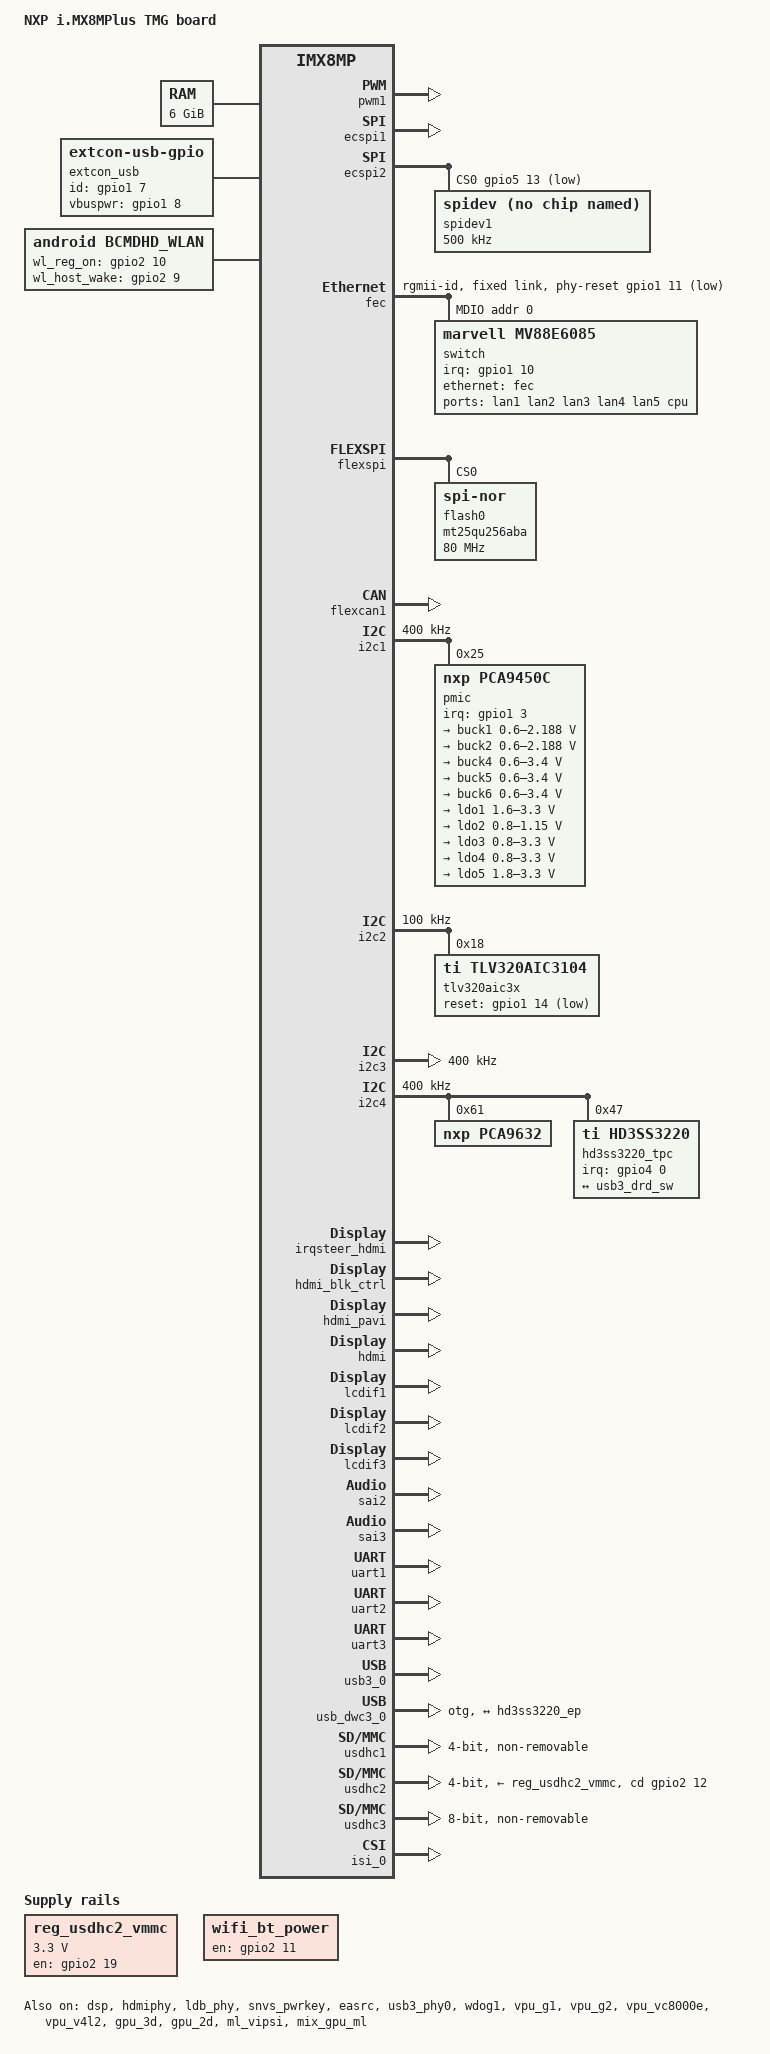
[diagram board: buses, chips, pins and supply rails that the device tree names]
// SPDX-License-Identifier: (GPL-2.0+ OR MIT)
/*
 * Copyright 2019 NXP
 */

/dts-v1/;

#include <dt-bindings/usb/pd.h>
#include "imx8mp.dtsi"

/ {
	model = "NXP i.MX8MPlus TMG board";
	compatible = "fsl,imx8mp-tmg", "fsl,imx8mp";

	chosen {
		stdout-path = &uart2;
	};

	memory@40000000 {
		device_type = "memory";
		reg = <0x0 0x40000000 0 0xc0000000>,
		      <0x1 0x00000000 0 0xc0000000>;
	};

	reg_usdhc2_vmmc: regulator-usdhc2 {
		compatible = "regulator-fixed";
		pinctrl-names = "default";
		pinctrl-0 = <&pinctrl_reg_usdhc2_vmmc>;
		regulator-name = "VSD_3V3";
		regulator-min-microvolt = <3300000>;
		regulator-max-microvolt = <3300000>;
		gpio = <&gpio2 19 GPIO_ACTIVE_HIGH>;
		enable-active-high;
	};

	wifi_bt_power: wifi-bt-regulator {
                compatible = "regulator-fixed";
                enable-active-high;
                gpio = <&gpio2 11 GPIO_ACTIVE_HIGH>;
                pinctrl-names = "default";
                pinctrl-0 = <&wifi_bt_drv>;
                regulator-name = "wifi_bt_power";
                regulator-always-on;
                regulator-boot-on;
        };
/*
        reg_usb_5v_vbus: regulator-usb5v-vbus {
                compatible = "regulator-fixed";
                regulator-name = "usb_5v_vbus";
                regulator-min-microvolt = <5000000>;
                regulator-max-microvolt = <5000000>;
                pinctrl-names = "default";
                pinctrl-0 = <&pinctrl_reg_usb_5v_vbus>;
                gpio = <&gpio1 8 GPIO_ACTIVE_HIGH>;
                enable-active-high;
        };
*/
	// FIXME: Use extcon device provided by charger driver when available
	extcon_usb: extcon_iddig {
		compatible = "linux,extcon-usb-gpio";
                pinctrl-names = "default";
                pinctrl-0 = <&pinctrl_reg_usb_5v_vbus>;
//                vbus-gpio = <&gpio1 8 GPIO_ACTIVE_HIGH>;
		id-gpio = <&gpio1 7 GPIO_ACTIVE_HIGH>;
                vbuspwr-gpio = <&gpio1 8 GPIO_ACTIVE_HIGH>;
	};

	bcmdhd {
        	compatible = "android,bcmdhd_wlan";
		pinctrl-names = "default";
		pinctrl-0 = <&pinctrl_usdhc1_gpio>;
	        gpio_wl_reg_on = <&gpio2 10 GPIO_ACTIVE_HIGH>;
	        gpio_wl_host_wake = <&gpio2 9 GPIO_ACTIVE_HIGH>;
	};

	sound_tlv320aic3104: sound-tlv320aic3104 {
		compatible = "simple-audio-card";
		simple-audio-card,name = "tlv320aic3104-audio";
		simple-audio-card,format = "i2s";
		simple-audio-card,frame-master = <&codecdai>;
		simple-audio-card,bitclock-master = <&codecdai>;
		simple-audio-card,widgets =
			"Line", "Line Out",
			"Line", "Line IN";
		simple-audio-card,routing =
			"Line Out", "LLOUT",
			"Line Out", "RLOUT",
			"LINE1L", "Line IN",
			"LINE1R", "Line IN";

		cpudai: simple-audio-card,cpu {
			sound-dai = <&sai3>;
	/*		dai-tdm-slot-num = <2>;
			dai-tdm-slot-width = <32>;*/
		};

		codecdai: simple-audio-card,codec {
			sound-dai = <&tlv320aic3x>;
			clocks = <&audio_blk_ctrl IMX8MP_CLK_AUDIO_BLK_CTRL_SAI3_MCLK1>;
		};
	};
};

&A53_0 {
	cpu-supply = <&buck2>;
};

&A53_1 {
	cpu-supply = <&buck2>;
};

&A53_2 {
	cpu-supply = <&buck2>;
};

&A53_3 {
	cpu-supply = <&buck2>;
};

&dsp {
	status = "okay";
};

&pwm1 {
	pinctrl-names = "default";
	pinctrl-0 = <&pinctrl_pwm1>;
	status = "okay";
};

&pwm2 {
	pinctrl-names = "default";
	pinctrl-0 = <&pinctrl_pwm2>;
	status = "disabled";
};

&pwm4 {
	pinctrl-names = "default";
	pinctrl-0 = <&pinctrl_pwm4>;
	status = "disabled";
};

&ecspi1 {
	#address-cells = <1>;
	#size-cells = <0>;
	pinctrl-names = "default";
	pinctrl-0 = <&pinctrl_ecspi1 &pinctrl_ecspi1_cs>;
	cs-gpios = <&gpio5 9 GPIO_ACTIVE_LOW>; 
	status = "okay";
};

&ecspi2 {
	#address-cells = <1>;
	#size-cells = <0>;
	fsl,spi-num-chipselects = <1>;
	pinctrl-names = "default";
	pinctrl-0 = <&pinctrl_ecspi2 &pinctrl_ecspi2_cs>;
	cs-gpios = <&gpio5 13 GPIO_ACTIVE_LOW>;
	status = "okay";

	spidev1: spi@0 {
		reg = <0>;
		compatible = "rohm,dh2228fv";
		spi-max-frequency = <500000>;
	};
};

&fec {
	pinctrl-0 = <&pinctrl_fec>,<&pinctrl_switch_reset>;
	phy-reset-gpios = <&gpio1 11 GPIO_ACTIVE_LOW>;
	phy-reset-duration = <10>;
	phy-reset-post-delay = <50>;
	pinctrl-names = "default";
	phy-mode = "rgmii-id";
	fsl,magic-packet;
	status = "okay";

	fixed-link {
		speed = <100>;
		/*full-duplex;*/
	};

	mdio {
		#address-cells = <1>;
		#size-cells = <0>;

		switch: switch@0 {
			compatible = "marvell,mv88e6085";
			pinctrl-0 = <&pinctrl_switch_intr>;
			pinctrl-names = "default";
			reg = <0>;
			eeprom-length = <512>;
			interrupt-parent = <&gpio1>;
			interrupts = <10 IRQ_TYPE_LEVEL_LOW>;
			interrupt-controller;
			#interrupt-cells = <2>;

			ports {
				#address-cells = <1>;
				#size-cells = <0>;

				port@0 {
					reg = <0>;
					label = "lan1";
				};

				port@1 {
					reg = <1>;
					label = "lan2";
				};

				port@2 {
					reg = <2>;
					label = "lan3";
				};

				port@3 {
					reg = <3>;
					label = "lan4";
				};

				port@4 {
					reg = <4>;
					label = "lan5";
				};

				port@5 {
					reg = <5>;
					label = "cpu";
					ethernet = <&fec>;
					fixed-link {
						speed = <100>;
						/*full-duplex;*/
					};
				};
			};
		};
	};
};

&flexspi {
	pinctrl-names = "default";
	pinctrl-0 = <&pinctrl_flexspi0>;
	status = "okay";

	flash0: mt25qu256aba@0 {
		reg = <0>;
		#address-cells = <1>;
		#size-cells = <1>;
		compatible = "jedec,spi-nor";
		spi-max-frequency = <80000000>;
		spi-tx-bus-width = <4>;
		spi-rx-bus-width = <4>;
	};
};

&flexcan1 {
	pinctrl-names = "default";
	pinctrl-0 = <&pinctrl_flexcan1>;
/*	xceiver-supply = <&reg_can1_stby>; */
	status = "okay";
};

&i2c1 {
	clock-frequency = <400000>;
	pinctrl-names = "default";
	pinctrl-0 = <&pinctrl_i2c1>;
	status = "okay";

	pmic: pca9450@25 {
		reg = <0x25>;
		compatible = "nxp,pca9450c";
		/* PMIC PCA9450 PMIC_nINT GPIO1_IO3 */
		pinctrl-0 = <&pinctrl_pmic>;
		interrupt-parent = <&gpio1>;
		interrupts = <3 GPIO_ACTIVE_LOW>;

		regulators {
			buck1: BUCK1 {
				regulator-name = "BUCK1";
				regulator-min-microvolt = <600000>;
				regulator-max-microvolt = <2187500>;
				regulator-boot-on;
				regulator-always-on;
				regulator-ramp-delay = <3125>;
			};

			buck2: BUCK2 {
				regulator-name = "BUCK2";
				regulator-min-microvolt = <600000>;
				regulator-max-microvolt = <2187500>;
				regulator-boot-on;
				regulator-always-on;
				regulator-ramp-delay = <3125>;
				nxp,dvs-run-voltage = <950000>;
				nxp,dvs-standby-voltage = <850000>;
			};

			buck4: BUCK4{
				regulator-name = "BUCK4";
				regulator-min-microvolt = <600000>;
				regulator-max-microvolt = <3400000>;
				regulator-boot-on;
				regulator-always-on;
			};

			buck5: BUCK5{
				regulator-name = "BUCK5";
				regulator-min-microvolt = <600000>;
				regulator-max-microvolt = <3400000>;
				regulator-boot-on;
				regulator-always-on;
			};

			buck6: BUCK6 {
				regulator-name = "BUCK6";
				regulator-min-microvolt = <600000>;
				regulator-max-microvolt = <3400000>;
				regulator-boot-on;
				regulator-always-on;
			};

			ldo1: LDO1 {
				regulator-name = "LDO1";
				regulator-min-microvolt = <1600000>;
				regulator-max-microvolt = <3300000>;
				regulator-boot-on;
				regulator-always-on;
			};

			ldo2: LDO2 {
				regulator-name = "LDO2";
				regulator-min-microvolt = <800000>;
				regulator-max-microvolt = <1150000>;
				regulator-boot-on;
				regulator-always-on;
			};

			ldo3: LDO3 {
				regulator-name = "LDO3";
				regulator-min-microvolt = <800000>;
				regulator-max-microvolt = <3300000>;
				regulator-boot-on;
				regulator-always-on;
			};

			ldo4: LDO4 {
				regulator-name = "LDO4";
				regulator-min-microvolt = <800000>;
				regulator-max-microvolt = <3300000>;
				regulator-boot-on;
				regulator-always-on;
			};

			ldo5: LDO5 {
				regulator-name = "LDO5";
				regulator-min-microvolt = <1800000>;
				regulator-max-microvolt = <3300000>;
				regulator-boot-on;
				regulator-always-on;
			};
		};
	};
};

&i2c2 {
	clock-frequency = <100000>;
	pinctrl-names = "default";
	pinctrl-0 = <&pinctrl_i2c2>;
	status = "okay";

	tlv320aic3x: tlv320aic3x@18 {
		#sound-dai-cells = <0>;
		compatible = "ti,tlv320aic3104";
		pinctrl-0 = <&pinctrl_audio_reset>;
		reg = <0x18>;
		status = "okay";
		ai3x-micbias-vg = <0x3>;
		gpio-reset = <&gpio1 14 GPIO_ACTIVE_LOW>;
	};
};

&i2c3 {
	clock-frequency = <400000>;
	pinctrl-names = "default";
	pinctrl-0 = <&pinctrl_i2c3>;
	status = "okay";

};

&i2c4 {
	clock-frequency = <400000>;
	pinctrl-names = "default";
	pinctrl-0 = <&pinctrl_i2c4>;
	status = "okay";

	pca9632: pca9632@61 {
        	compatible = "nxp,pca9632";
	        #address-cells = <1>;
	        #size-cells = <0>;
	        reg = <0x61>;

	        red@0 {
        	        label = "red";
	                reg = <0>;
	                linux,default-trigger = "none";
	        };
	        green@1 {
        	        label = "green";
	                reg = <1>;
        	        linux,default-trigger = "none";
	        };
	        blue@2 {
        	        label = "blue";
	                reg = <2>;
        	        linux,default-trigger = "none";
	        };
	        unused@3 {
        	        label = "unused";
	                reg = <3>;
        	        linux,default-trigger = "none";
	        };
	};

	hd3ss3220_tpc:hd3ss3220@47 {
		pinctrl-names = "default";
		pinctrl-0 = <&pinctrl_usb_nint>;
                compatible = "ti,hd3ss3220";
                reg = <0x47>;
                interrupt-parent = <&gpio4>;
		interrupts = <0 GPIO_ACTIVE_HIGH>;

		connector {
			compatible = "usb-c-connector";
			label = "USB-C";
			data-role = "dual";

			ports {
				#address-cells = <1>;
				#size-cells = <0>;

				port@1 {
					reg = <1>;
					hd3ss3220_ep: endpoint {
						remote-endpoint = <&usb3_drd_sw>;
					};
				};
			};
		};
        };
};

&irqsteer_hdmi {
	status = "okay";
};

&hdmi_blk_ctrl {
	status = "okay";
};

&hdmi_pavi {
	status = "okay";
};

&hdmi {
	status = "okay";
};

&hdmiphy {
	status = "okay";
};

&lcdif1 {
	status = "okay";
};

&lcdif2 {
	status = "okay";
};

&lcdif3 {
	status = "okay";

	thres-low  = <1 2>;             /* (FIFO * 1 / 2) */
	thres-high = <3 4>;             /* (FIFO * 3 / 4) */
};

&ldb {
	status = "disabled";
};

&ldb_phy {
	status = "okay";
};

&snvs_pwrkey {
	status = "okay";
};

&easrc {
	fsl,asrc-rate  = <48000>;
	status = "okay";
};

&pcie{
	pinctrl-names = "default";
	pinctrl-0 = <&pinctrl_pcie>;
	disable-gpio = <&gpio2 6 GPIO_ACTIVE_LOW>;
	reset-gpio = <&gpio2 7 GPIO_ACTIVE_LOW>;
	ext_osc = <1>;
	clocks = <&clk IMX8MP_CLK_HSIO_ROOT>,
		 <&clk IMX8MP_CLK_PCIE_AUX>,
		 <&clk IMX8MP_CLK_HSIO_AXI>,
		 <&clk IMX8MP_CLK_PCIE_ROOT>;
	clock-names = "pcie", "pcie_aux", "pcie_phy", "pcie_bus";
	assigned-clocks = <&clk IMX8MP_CLK_HSIO_AXI>,
			  <&clk IMX8MP_CLK_PCIE_AUX>;
	assigned-clock-rates = <500000000>, <10000000>;
	assigned-clock-parents = <&clk IMX8MP_SYS_PLL2_500M>,
				 <&clk IMX8MP_SYS_PLL2_50M>;
	l1ss-disabled;
	status = "disabled";
};

&pcie_ep{
	pinctrl-names = "default";
	pinctrl-0 = <&pinctrl_pcie>;
	ext_osc = <1>;
	clocks = <&clk IMX8MP_CLK_HSIO_ROOT>,
		 <&clk IMX8MP_CLK_PCIE_AUX>,
		 <&clk IMX8MP_CLK_HSIO_AXI>,
		 <&clk IMX8MP_CLK_PCIE_ROOT>;
	clock-names = "pcie", "pcie_aux", "pcie_phy", "pcie_bus";
	assigned-clocks = <&clk IMX8MP_CLK_HSIO_AXI>,
			  <&clk IMX8MP_CLK_PCIE_AUX>;
	assigned-clock-rates = <500000000>, <10000000>;
	assigned-clock-parents = <&clk IMX8MP_SYS_PLL2_500M>,
				 <&clk IMX8MP_SYS_PLL2_50M>;
	status = "disabled";
};

&pcie_phy{
	ext_osc = <1>;
	status = "disabled";
};


&sai2 {
/*	#sound-dai-cells = <0>; */
	pinctrl-names = "default";
	pinctrl-0 = <&pinctrl_sai2>;
	assigned-clocks = <&clk IMX8MP_CLK_SAI2>;
	assigned-clock-parents = <&clk IMX8MP_AUDIO_PLL1_OUT>;
	assigned-clock-rates = <12288000>;
	status = "okay";
};

&sai3 {
	#sound-dai-cells = <0>;
	pinctrl-names = "default";
	pinctrl-0 = <&pinctrl_sai3>;
	assigned-clocks = <&clk IMX8MP_CLK_SAI3>;
	assigned-clock-parents = <&clk IMX8MP_AUDIO_PLL1_OUT>;
	assigned-clock-rates = <24576000>;
	clocks = <&audio_blk_ctrl IMX8MP_CLK_AUDIO_BLK_CTRL_SAI3_IPG>, <&clk IMX8MP_CLK_DUMMY>,
		 <&audio_blk_ctrl IMX8MP_CLK_AUDIO_BLK_CTRL_SAI3_MCLK1>, <&clk IMX8MP_CLK_DUMMY>,
		 <&clk IMX8MP_CLK_DUMMY>;
	clock-names = "bus", "mclk0", "mclk1", "mclk2", "mclk3";
	fsl,sai-mclk-direction-output;
	status = "okay";
};

&sdma2 {
	status = "okay";
};

&uart1 { /* BT */
	pinctrl-names = "default";
	pinctrl-0 = <&pinctrl_uart1>;
	assigned-clocks = <&clk IMX8MP_CLK_UART1>;
	assigned-clock-parents = <&clk IMX8MP_SYS_PLL1_80M>;
	fsl,uart-has-rtscts;
	status = "okay";
};

&uart2 {
	/* console */
	pinctrl-names = "default";
	pinctrl-0 = <&pinctrl_uart2>;
	status = "okay";
};

&uart3 {
	pinctrl-names = "default";
	pinctrl-0 = <&pinctrl_uart3>;
	assigned-clocks = <&clk IMX8MP_CLK_UART3>;
	assigned-clock-parents = <&clk IMX8MP_SYS_PLL1_80M>;
	status = "okay";
};

&usb3_phy0 {
/*	vbus-supply = <&reg_usb_5v_vbus>;  */
	fsl,phy-tx-vref-tune = <0xe>;
	fsl,phy-tx-preemp-amp-tune = <3>;
	fsl,phy-tx-vboost-level = <5>;
	fsl,phy-comp-dis-tune = <7>;
	fsl,pcs-tx-deemph-3p5db = <0x21>;
	fsl,phy-pcs-tx-swing-full = <0x7f>;
	status = "okay";
};

&usb3_0 {
	status = "okay";
	extcon = <&extcon_usb>;
};

&usb_dwc3_0 {
	dr_mode = "otg";
	extcon = <&extcon_usb>;
/*        vbus-supply = <&reg_usb_5v_vbus>; */
	hnp-disable;
	srp-disable;
	adp-disable;
	usb-role-switch;
	role-switch-default-mode = "none";
	status = "okay";

	port {
		usb3_drd_sw: endpoint {
			remote-endpoint = <&hd3ss3220_ep>;
		};
	};
};

&usb3_phy1 {
	fsl,phy-tx-preemp-amp-tune = <3>;
	fsl,phy-tx-vref-tune = <0xb>;
	status = "disabled";
};

&usb3_1 {
	status = "disabled";
};

&usb_dwc3_1 {
	pinctrl-names = "default";
	pinctrl-0 = <&pinctrl_usb1_vbus>;
	dr_mode = "host";
	status = "disabled";
};

&usdhc1 {
	assigned-clocks = <&clk IMX8MP_CLK_USDHC1>;
	assigned-clock-rates = <400000000>;
	pinctrl-names = "default", "state_100mhz", "state_200mhz";
	pinctrl-0 = <&pinctrl_usdhc1>;
	pinctrl-1 = <&pinctrl_usdhc1_100mhz>;
	pinctrl-2 = <&pinctrl_usdhc1_200mhz>;
	bus-width = <4>;
	non-removable;
	status = "okay";
};

&usdhc2 {
	assigned-clocks = <&clk IMX8MP_CLK_USDHC2>;
	assigned-clock-rates = <400000000>;
	pinctrl-names = "default", "state_100mhz", "state_200mhz";
	pinctrl-0 = <&pinctrl_usdhc2>, <&pinctrl_usdhc2_gpio>;
	pinctrl-1 = <&pinctrl_usdhc2_100mhz>, <&pinctrl_usdhc2_gpio>;
	pinctrl-2 = <&pinctrl_usdhc2_200mhz>, <&pinctrl_usdhc2_gpio>;
	cd-gpios = <&gpio2 12 GPIO_ACTIVE_HIGH>;
	vmmc-supply = <&reg_usdhc2_vmmc>;
	bus-width = <4>;
	status = "okay";
};

&usdhc3 {
	assigned-clocks = <&clk IMX8MP_CLK_USDHC3>;
	assigned-clock-rates = <400000000>;
	pinctrl-names = "default", "state_100mhz", "state_200mhz";
	pinctrl-0 = <&pinctrl_usdhc3>;
	pinctrl-1 = <&pinctrl_usdhc3_100mhz>;
	pinctrl-2 = <&pinctrl_usdhc3_200mhz>;
	bus-width = <8>;
	non-removable;
	status = "okay";
};

&wdog1 {
	pinctrl-names = "default";
	pinctrl-0 = <&pinctrl_wdog>;
	fsl,ext-reset-output;
	status = "okay";
};

&iomuxc {
	pinctrl-names = "default";
	pinctrl-0 = <&pinctrl_hog>;

	pinctrl_hog: hoggrp {
		fsl,pins = <
			MX8MP_IOMUXC_HDMI_DDC_SCL__HDMIMIX_HDMI_SCL	0x400001c3
			MX8MP_IOMUXC_HDMI_DDC_SDA__HDMIMIX_HDMI_SDA	0x400001c3
			MX8MP_IOMUXC_HDMI_HPD__HDMIMIX_HDMI_HPD		0x40000019
			MX8MP_IOMUXC_HDMI_CEC__HDMIMIX_HDMI_CEC		0x40000019
		>;
	};

	pinctrl_pwm1: pwm1grp {
		fsl,pins = <
			MX8MP_IOMUXC_GPIO1_IO01__PWM1_OUT	0x116
		>;
	};

	pinctrl_pwm2: pwm2grp {
		fsl,pins = <
			MX8MP_IOMUXC_GPIO1_IO11__PWM2_OUT	0x116
		>;
	};

	pinctrl_pwm4: pwm4grp {
		fsl,pins = <
			MX8MP_IOMUXC_SAI5_RXFS__PWM4_OUT	0x116
		>;
	};

	pinctrl_ecspi1: ecspi1grp {
		fsl,pins = <
			MX8MP_IOMUXC_ECSPI1_SCLK__ECSPI1_SCLK		0x82
			MX8MP_IOMUXC_ECSPI1_MOSI__ECSPI1_MOSI		0x82
			MX8MP_IOMUXC_ECSPI1_MISO__ECSPI1_MISO		0x82
		>;
	};

	pinctrl_ecspi1_cs: ecspi1cs {
		fsl,pins = <
			MX8MP_IOMUXC_ECSPI1_SS0__GPIO5_IO09		0x40000
		>;
	};

	pinctrl_ecspi2: ecspi2grp {
		fsl,pins = <
			MX8MP_IOMUXC_ECSPI2_SCLK__ECSPI2_SCLK		0x82
			MX8MP_IOMUXC_ECSPI2_MOSI__ECSPI2_MOSI		0x82
			MX8MP_IOMUXC_ECSPI2_MISO__ECSPI2_MISO		0x82
		>;
	};

	pinctrl_ecspi2_cs: ecspi2cs {
		fsl,pins = <
			MX8MP_IOMUXC_ECSPI2_SS0__GPIO5_IO13		0x40000
		>;
	};

	pinctrl_eqos: eqosgrp {
		fsl,pins = <
			MX8MP_IOMUXC_ENET_MDC__ENET_QOS_MDC		0x3
			MX8MP_IOMUXC_ENET_MDIO__ENET_QOS_MDIO		0x3
			MX8MP_IOMUXC_ENET_RD0__ENET_QOS_RGMII_RD0	0x91
			MX8MP_IOMUXC_ENET_RD1__ENET_QOS_RGMII_RD1	0x91
			MX8MP_IOMUXC_ENET_RD2__ENET_QOS_RGMII_RD2	0x91
			MX8MP_IOMUXC_ENET_RD3__ENET_QOS_RGMII_RD3	0x91
			MX8MP_IOMUXC_ENET_RXC__CCM_ENET_QOS_CLOCK_GENERATE_RX_CLK	0x91
			MX8MP_IOMUXC_ENET_RX_CTL__ENET_QOS_RGMII_RX_CTL	0x91
			MX8MP_IOMUXC_ENET_TD0__ENET_QOS_RGMII_TD0	0x1f
			MX8MP_IOMUXC_ENET_TD1__ENET_QOS_RGMII_TD1	0x1f
			MX8MP_IOMUXC_ENET_TD2__ENET_QOS_RGMII_TD2	0x1f
			MX8MP_IOMUXC_ENET_TD3__ENET_QOS_RGMII_TD3	0x1f
			MX8MP_IOMUXC_ENET_TX_CTL__ENET_QOS_RGMII_TX_CTL	0x1f
			MX8MP_IOMUXC_ENET_TXC__CCM_ENET_QOS_CLOCK_GENERATE_TX_CLK	0x1f
			MX8MP_IOMUXC_SAI2_RXC__GPIO4_IO22		0x19
		>;
	};

	pinctrl_fec: fecgrp {
		fsl,pins = <
			MX8MP_IOMUXC_SAI1_RXD2__ENET1_MDC		0x3
			MX8MP_IOMUXC_SAI1_RXD3__ENET1_MDIO		0x3
			MX8MP_IOMUXC_SAI1_RXD4__ENET1_RGMII_RD0		0x91
			MX8MP_IOMUXC_SAI1_RXD5__ENET1_RGMII_RD1		0x91
			MX8MP_IOMUXC_SAI1_RXD6__ENET1_RGMII_RD2		0x91
			MX8MP_IOMUXC_SAI1_RXD7__ENET1_RGMII_RD3		0x91
			MX8MP_IOMUXC_SAI1_TXC__ENET1_RGMII_RXC		0x91
			MX8MP_IOMUXC_SAI1_TXFS__ENET1_RGMII_RX_CTL	0x91
			MX8MP_IOMUXC_SAI1_TXD0__ENET1_RGMII_TD0		0x1f
			MX8MP_IOMUXC_SAI1_TXD1__ENET1_RGMII_TD1		0x1f
			MX8MP_IOMUXC_SAI1_TXD2__ENET1_RGMII_TD2		0x1f
			MX8MP_IOMUXC_SAI1_TXD3__ENET1_RGMII_TD3		0x1f
			MX8MP_IOMUXC_SAI1_TXD4__ENET1_RGMII_TX_CTL	0x1f
			MX8MP_IOMUXC_SAI1_TXD5__ENET1_RGMII_TXC		0x1f
			MX8MP_IOMUXC_SAI1_RXD0__GPIO4_IO02		0x19
		>;
	};

	pinctrl_flexcan1: flexcan1grp {
		fsl,pins = <
			MX8MP_IOMUXC_SPDIF_RX__CAN1_RX          0x154
			MX8MP_IOMUXC_SPDIF_TX__CAN1_TX          0x154
		>;
	};

	pinctrl_flexspi0: flexspi0grp {
		fsl,pins = <
			MX8MP_IOMUXC_NAND_ALE__FLEXSPI_A_SCLK           0x1c2
			MX8MP_IOMUXC_NAND_CE0_B__FLEXSPI_A_SS0_B        0x82
			MX8MP_IOMUXC_NAND_DATA00__FLEXSPI_A_DATA00      0x82
			MX8MP_IOMUXC_NAND_DATA01__FLEXSPI_A_DATA01      0x82
			MX8MP_IOMUXC_NAND_DATA02__FLEXSPI_A_DATA02      0x82
			MX8MP_IOMUXC_NAND_DATA03__FLEXSPI_A_DATA03      0x82
		>;
	};

	pinctrl_i2c1: i2c1grp {
		fsl,pins = <
			MX8MP_IOMUXC_I2C1_SCL__I2C1_SCL		0x400001c3
			MX8MP_IOMUXC_I2C1_SDA__I2C1_SDA		0x400001c3
		>;
	};

	pinctrl_i2c2: i2c2grp {
		fsl,pins = <
			MX8MP_IOMUXC_I2C2_SCL__I2C2_SCL		0x400001c3
			MX8MP_IOMUXC_I2C2_SDA__I2C2_SDA		0x400001c3
		>;
	};

	pinctrl_i2c3: i2c3grp {
		fsl,pins = <
			MX8MP_IOMUXC_I2C3_SCL__I2C3_SCL		0x400001c3
			MX8MP_IOMUXC_I2C3_SDA__I2C3_SDA		0x400001c3
		>;
	};

	pinctrl_i2c4: i2c4grp {
		fsl,pins = <
			MX8MP_IOMUXC_I2C4_SCL__I2C4_SCL		0x400001c3
			MX8MP_IOMUXC_I2C4_SDA__I2C4_SDA		0x400001c3
		>;
	};

	pinctrl_pcie: pciegrp {
		fsl,pins = <
			MX8MP_IOMUXC_I2C4_SCL__PCIE_CLKREQ_B		0x61 /* open drain, pull up */
			MX8MP_IOMUXC_SD1_DATA4__GPIO2_IO06		0x41
			MX8MP_IOMUXC_SD1_DATA5__GPIO2_IO07		0x41
			MX8MP_IOMUXC_I2C4_SDA__GPIO5_IO21		0x1c4
		>;
	};

	pinctrl_pmic: pmicirq {
		fsl,pins = <
			MX8MP_IOMUXC_GPIO1_IO03__GPIO1_IO03	0x41
		>;
	};

	pinctrl_reg_usdhc2_vmmc: regusdhc2vmmcgrp {
		fsl,pins = <
			MX8MP_IOMUXC_SD2_RESET_B__GPIO2_IO19	0x41
		>;
	};

	pinctrl_pdm: pdmgrp {
		fsl,pins = <
			MX8MP_IOMUXC_SAI5_RXC__AUDIOMIX_PDM_CLK		0xd6
			MX8MP_IOMUXC_SAI5_RXD0__AUDIOMIX_PDM_BIT_STREAM00	0xd6
			MX8MP_IOMUXC_SAI5_RXD1__AUDIOMIX_PDM_BIT_STREAM01	0xd6
			MX8MP_IOMUXC_SAI5_RXD2__AUDIOMIX_PDM_BIT_STREAM02	0xd6
			MX8MP_IOMUXC_SAI5_RXD3__AUDIOMIX_PDM_BIT_STREAM03	0xd6
		>;
	};

	pinctrl_sai2: sai2grp {
		fsl,pins = <
			MX8MP_IOMUXC_SAI2_TXC__AUDIOMIX_SAI2_TX_BCLK	0xd6
			MX8MP_IOMUXC_SAI2_TXFS__AUDIOMIX_SAI2_TX_SYNC	0xd6
			MX8MP_IOMUXC_SAI2_TXD0__AUDIOMIX_SAI2_TX_DATA00	0xd6
			MX8MP_IOMUXC_SAI2_RXD0__AUDIOMIX_SAI2_RX_DATA00	0xd6
		>;
	};

	pinctrl_sai3: sai3grp {
		fsl,pins = <
			MX8MP_IOMUXC_SAI3_TXFS__AUDIOMIX_SAI3_TX_SYNC	0xd6
			MX8MP_IOMUXC_SAI3_TXC__AUDIOMIX_SAI3_TX_BCLK	0xd6
			MX8MP_IOMUXC_SAI3_RXD__AUDIOMIX_SAI3_RX_DATA00	0xd6
			MX8MP_IOMUXC_SAI3_TXD__AUDIOMIX_SAI3_TX_DATA00	0xd6
			MX8MP_IOMUXC_SAI3_MCLK__AUDIOMIX_SAI3_MCLK	0xd6
		>;
	};

	pinctrl_uart1: uart1grp {
		fsl,pins = <
			MX8MP_IOMUXC_UART1_RXD__UART1_DCE_RX	0x140
			MX8MP_IOMUXC_UART1_TXD__UART1_DCE_TX	0x140
		>;
	};

	pinctrl_uart2: uart2grp {
		fsl,pins = <
			MX8MP_IOMUXC_UART2_RXD__UART2_DCE_RX	0x49
			MX8MP_IOMUXC_UART2_TXD__UART2_DCE_TX	0x49
		>;
	};

	pinctrl_uart3: uart3grp {
		fsl,pins = <
			MX8MP_IOMUXC_UART3_RXD__UART3_DCE_RX		0x140
			MX8MP_IOMUXC_UART3_TXD__UART3_DCE_TX		0x140
		>;
	};

	pinctrl_usb1_vbus: usb1grp {
		fsl,pins = <
			MX8MP_IOMUXC_GPIO1_IO14__USB2_PWR		0x19
		>;
	};

	pinctrl_usdhc1: usdhc1grp {
		fsl,pins = <
			MX8MP_IOMUXC_SD1_CLK__USDHC1_CLK	0x190
			MX8MP_IOMUXC_SD1_CMD__USDHC1_CMD	0x1d0
			MX8MP_IOMUXC_SD1_DATA0__USDHC1_DATA0	0x1d0
			MX8MP_IOMUXC_SD1_DATA1__USDHC1_DATA1	0x1d0
			MX8MP_IOMUXC_SD1_DATA2__USDHC1_DATA2	0x1d0
			MX8MP_IOMUXC_SD1_DATA3__USDHC1_DATA3	0x1d0
		>;
	};

	pinctrl_usdhc1_100mhz: usdhc1grp-100mhz {
		fsl,pins = <
			MX8MP_IOMUXC_SD1_CLK__USDHC1_CLK	0x194
			MX8MP_IOMUXC_SD1_CMD__USDHC1_CMD	0x1d4
			MX8MP_IOMUXC_SD1_DATA0__USDHC1_DATA0	0x1d4
			MX8MP_IOMUXC_SD1_DATA1__USDHC1_DATA1	0x1d4
			MX8MP_IOMUXC_SD1_DATA2__USDHC1_DATA2	0x1d4
			MX8MP_IOMUXC_SD1_DATA3__USDHC1_DATA3	0x1d4
		>;
	};

	pinctrl_usdhc1_200mhz: usdhc1grp-200mhz {
		fsl,pins = <
			MX8MP_IOMUXC_SD1_CLK__USDHC1_CLK	0x196
			MX8MP_IOMUXC_SD1_CMD__USDHC1_CMD	0x1d6
			MX8MP_IOMUXC_SD1_DATA0__USDHC1_DATA0	0x1d6
			MX8MP_IOMUXC_SD1_DATA1__USDHC1_DATA1	0x1d6
			MX8MP_IOMUXC_SD1_DATA2__USDHC1_DATA2	0x1d6
			MX8MP_IOMUXC_SD1_DATA3__USDHC1_DATA3	0x1d6
		>;
	};

	pinctrl_usdhc2: usdhc2grp {
		fsl,pins = <
			MX8MP_IOMUXC_SD2_CLK__USDHC2_CLK	0x190
			MX8MP_IOMUXC_SD2_CMD__USDHC2_CMD	0x1d0
			MX8MP_IOMUXC_SD2_DATA0__USDHC2_DATA0	0x1d0
			MX8MP_IOMUXC_SD2_DATA1__USDHC2_DATA1	0x1d0
			MX8MP_IOMUXC_SD2_DATA2__USDHC2_DATA2	0x1d0
			MX8MP_IOMUXC_SD2_DATA3__USDHC2_DATA3	0x1d0
			MX8MP_IOMUXC_GPIO1_IO04__USDHC2_VSELECT	0xc1
		>;
	};

	pinctrl_usdhc2_100mhz: usdhc2-100mhzgrp {
		fsl,pins = <
			MX8MP_IOMUXC_SD2_CLK__USDHC2_CLK	0x194
			MX8MP_IOMUXC_SD2_CMD__USDHC2_CMD	0x1d4
			MX8MP_IOMUXC_SD2_DATA0__USDHC2_DATA0	0x1d4
			MX8MP_IOMUXC_SD2_DATA1__USDHC2_DATA1	0x1d4
			MX8MP_IOMUXC_SD2_DATA2__USDHC2_DATA2	0x1d4
			MX8MP_IOMUXC_SD2_DATA3__USDHC2_DATA3	0x1d4
			MX8MP_IOMUXC_GPIO1_IO04__USDHC2_VSELECT 0xc1
		>;
	};

	pinctrl_usdhc2_200mhz: usdhc2-200mhzgrp {
		fsl,pins = <
			MX8MP_IOMUXC_SD2_CLK__USDHC2_CLK	0x196
			MX8MP_IOMUXC_SD2_CMD__USDHC2_CMD	0x1d6
			MX8MP_IOMUXC_SD2_DATA0__USDHC2_DATA0	0x1d6
			MX8MP_IOMUXC_SD2_DATA1__USDHC2_DATA1	0x1d6
			MX8MP_IOMUXC_SD2_DATA2__USDHC2_DATA2	0x1d6
			MX8MP_IOMUXC_SD2_DATA3__USDHC2_DATA3	0x1d6
			MX8MP_IOMUXC_GPIO1_IO04__USDHC2_VSELECT 0xc1
		>;
	};

	pinctrl_usdhc2_gpio: usdhc2gpiogrp {
		fsl,pins = <
			MX8MP_IOMUXC_SD2_CD_B__GPIO2_IO12	0x1c4
		>;
	};

	pinctrl_usdhc3: usdhc3grp {
		fsl,pins = <
			MX8MP_IOMUXC_NAND_WE_B__USDHC3_CLK	0x190
			MX8MP_IOMUXC_NAND_WP_B__USDHC3_CMD	0x1d0
			MX8MP_IOMUXC_NAND_DATA04__USDHC3_DATA0	0x1d0
			MX8MP_IOMUXC_NAND_DATA05__USDHC3_DATA1	0x1d0
			MX8MP_IOMUXC_NAND_DATA06__USDHC3_DATA2	0x1d0
			MX8MP_IOMUXC_NAND_DATA07__USDHC3_DATA3	0x1d0
			MX8MP_IOMUXC_NAND_RE_B__USDHC3_DATA4	0x1d0
			MX8MP_IOMUXC_NAND_CE2_B__USDHC3_DATA5	0x1d0
			MX8MP_IOMUXC_NAND_CE3_B__USDHC3_DATA6	0x1d0
			MX8MP_IOMUXC_NAND_CLE__USDHC3_DATA7	0x1d0
			MX8MP_IOMUXC_NAND_CE1_B__USDHC3_STROBE	0x190
		>;
	};

	pinctrl_usdhc3_100mhz: usdhc3-100mhzgrp {
		fsl,pins = <
			MX8MP_IOMUXC_NAND_WE_B__USDHC3_CLK	0x194
			MX8MP_IOMUXC_NAND_WP_B__USDHC3_CMD	0x1d4
			MX8MP_IOMUXC_NAND_DATA04__USDHC3_DATA0	0x1d4
			MX8MP_IOMUXC_NAND_DATA05__USDHC3_DATA1	0x1d4
			MX8MP_IOMUXC_NAND_DATA06__USDHC3_DATA2	0x1d4
			MX8MP_IOMUXC_NAND_DATA07__USDHC3_DATA3	0x1d4
			MX8MP_IOMUXC_NAND_RE_B__USDHC3_DATA4	0x1d4
			MX8MP_IOMUXC_NAND_CE2_B__USDHC3_DATA5	0x1d4
			MX8MP_IOMUXC_NAND_CE3_B__USDHC3_DATA6	0x1d4
			MX8MP_IOMUXC_NAND_CLE__USDHC3_DATA7	0x1d4
			MX8MP_IOMUXC_NAND_CE1_B__USDHC3_STROBE	0x194
		>;
	};

	pinctrl_usdhc3_200mhz: usdhc3-200mhzgrp {
		fsl,pins = <
			MX8MP_IOMUXC_NAND_WE_B__USDHC3_CLK	0x196
			MX8MP_IOMUXC_NAND_WP_B__USDHC3_CMD	0x1d6
			MX8MP_IOMUXC_NAND_DATA04__USDHC3_DATA0	0x1d6
			MX8MP_IOMUXC_NAND_DATA05__USDHC3_DATA1	0x1d6
			MX8MP_IOMUXC_NAND_DATA06__USDHC3_DATA2	0x1d6
			MX8MP_IOMUXC_NAND_DATA07__USDHC3_DATA3	0x1d6
			MX8MP_IOMUXC_NAND_RE_B__USDHC3_DATA4	0x1d6
			MX8MP_IOMUXC_NAND_CE2_B__USDHC3_DATA5	0x1d6
			MX8MP_IOMUXC_NAND_CE3_B__USDHC3_DATA6	0x1d6
			MX8MP_IOMUXC_NAND_CLE__USDHC3_DATA7	0x1d6
			MX8MP_IOMUXC_NAND_CE1_B__USDHC3_STROBE	0x196
		>;
	};

	pinctrl_wdog: wdoggrp {
		fsl,pins = <
			MX8MP_IOMUXC_GPIO1_IO02__WDOG1_WDOG_B	0xc6
		>;
	};

	pinctrl_usb_nint: usb_nint_grp {
		fsl,pins = <
			MX8MP_IOMUXC_SAI1_RXFS__GPIO4_IO00	0x19
		>;
	};

        pinctrl_usdhc1_gpio: usdhc1grpgpio {
		fsl,pins = <
			MX8MP_IOMUXC_SD1_DATA7__GPIO2_IO09	0x41
			MX8MP_IOMUXC_SD1_RESET_B__GPIO2_IO10	0x41
        	>;
	};

	pinctrl_audio_reset: audio-reset {
		fsl,pins = <
			MX8MP_IOMUXC_GPIO1_IO14__GPIO1_IO14      0x13
		>;
	};

	pinctrl_reg_usb_5v_vbus: regusb5vvbusgrp {
		fsl,pins = <
			MX8MP_IOMUXC_GPIO1_IO08__GPIO1_IO08	0x16
			MX8MP_IOMUXC_GPIO1_IO07__GPIO1_IO07	0x16
		>;
	};

	wifi_bt_drv: wifi-bt-drv{
		fsl,pins = <
			MX8MP_IOMUXC_SD1_STROBE__GPIO2_IO11	0x19
		>;
	};

	pinctrl_switch_intr: switchintr {
		fsl,pins = <
			/* ENET_INT */
			MX8MP_IOMUXC_GPIO1_IO10__GPIO1_IO10		0x59
		>;
	};

	pinctrl_switch_reset: switchreset {
		fsl,pins = <
			/* ENET_nRST */
			MX8MP_IOMUXC_GPIO1_IO11__GPIO1_IO11		0x59 
		>;
	};
};

&vpu_g1 {
	status = "okay";
};

&vpu_g2 {
	status = "okay";
};

&vpu_vc8000e {
	status = "okay";
};

&vpu_v4l2 {
	status = "okay";
};

&gpu_3d {
	status = "okay";
};

&gpu_2d {
	status = "okay";
};

&ml_vipsi {
	status = "okay";
};

&mix_gpu_ml {
	status = "okay";
};

&mipi_csi_0 {
	#address-cells = <1>;
	#size-cells = <0>;
	status = "disabled";
};

&mipi_csi_1 {
	#address-cells = <1>;
	#size-cells = <0>;
	status = "disabled";
};

&isi_0 {
	status = "okay";

	cap_device {
		status = "okay";
	};

	m2m_device {
		status = "okay";
	};
};

&isi_1 {
	status = "disabled";

	cap_device {
		status = "okay";
	};
};
